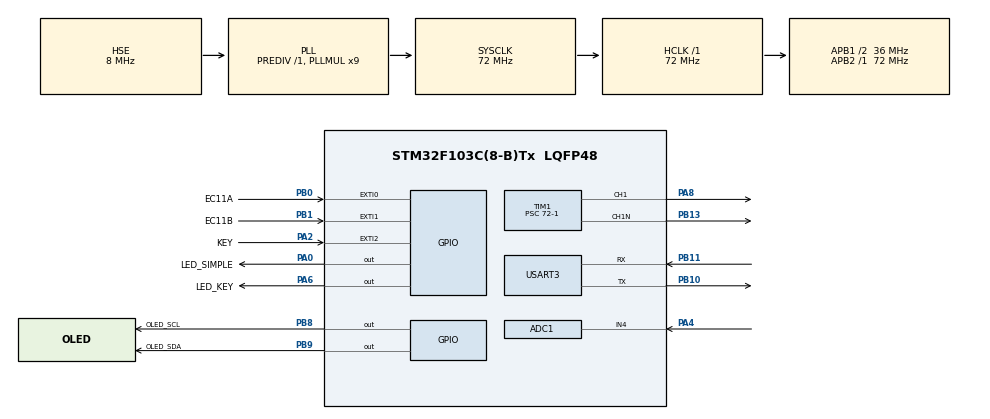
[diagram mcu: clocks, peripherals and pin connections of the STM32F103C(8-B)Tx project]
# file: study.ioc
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ADC1.Channel-0\#ChannelRegularConversion=ADC_CHANNEL_4
ADC1.Channel-1\#ChannelRegularConversion=ADC_CHANNEL_TEMPSENSOR
ADC1.Channel-2\#ChannelRegularConversion=ADC_CHANNEL_VREFINT
ADC1.ContinuousConvMode=ENABLE
ADC1.NbrOfConversion=3
ADC1.NbrOfConversionFlag=1
ADC1.Rank-0\#ChannelRegularConversion=1
ADC1.Rank-1\#ChannelRegularConversion=2
ADC1.Rank-2\#ChannelRegularConversion=3
ADC1.SamplingTime-0\#ChannelRegularConversion=ADC_SAMPLETIME_7CYCLES_5
ADC1.SamplingTime-1\#ChannelRegularConversion=ADC_SAMPLETIME_71CYCLES_5
ADC1.SamplingTime-2\#ChannelRegularConversion=ADC_SAMPLETIME_71CYCLES_5
ADC1.master=1
Dma.ADC1.2.Direction=DMA_PERIPH_TO_MEMORY
Dma.ADC1.2.Instance=DMA1_Channel1
Dma.ADC1.2.MemDataAlignment=DMA_MDATAALIGN_HALFWORD
Dma.ADC1.2.MemInc=DMA_MINC_ENABLE
Dma.ADC1.2.Mode=DMA_CIRCULAR
Dma.ADC1.2.PeriphDataAlignment=DMA_PDATAALIGN_HALFWORD
Dma.ADC1.2.PeriphInc=DMA_PINC_DISABLE
Dma.ADC1.2.Priority=DMA_PRIORITY_LOW
Dma.Request0=USART3_RX
Dma.Request1=USART3_TX
Dma.Request2=ADC1
Dma.USART3_RX.0.Direction=DMA_PERIPH_TO_MEMORY
Dma.USART3_RX.0.Instance=DMA1_Channel3
Dma.USART3_RX.0.MemDataAlignment=DMA_MDATAALIGN_BYTE
Dma.USART3_RX.0.MemInc=DMA_MINC_ENABLE
Dma.USART3_RX.0.Mode=DMA_NORMAL
Dma.USART3_RX.0.PeriphDataAlignment=DMA_PDATAALIGN_BYTE
Dma.USART3_RX.0.PeriphInc=DMA_PINC_DISABLE
Dma.USART3_RX.0.Priority=DMA_PRIORITY_LOW
Dma.USART3_TX.1.Direction=DMA_MEMORY_TO_PERIPH
Dma.USART3_TX.1.Instance=DMA1_Channel2
Dma.USART3_TX.1.MemDataAlignment=DMA_MDATAALIGN_BYTE
Dma.USART3_TX.1.MemInc=DMA_MINC_ENABLE
Dma.USART3_TX.1.Mode=DMA_NORMAL
Dma.USART3_TX.1.PeriphDataAlignment=DMA_PDATAALIGN_BYTE
Dma.USART3_TX.1.PeriphInc=DMA_PINC_DISABLE
Dma.USART3_TX.1.Priority=DMA_PRIORITY_LOW
Mcu.Family=STM32F1
Mcu.Name=STM32F103C(8-B)Tx
Mcu.Package=LQFP48
NVIC.DMA1_Channel1_IRQn=true\:0\:0\:false\:false\:true\:false\:true\:true
NVIC.DMA1_Channel2_IRQn=true\:0\:0\:false\:false\:true\:false\:true\:true
NVIC.DMA1_Channel3_IRQn=true\:0\:0\:false\:false\:true\:false\:true\:true
NVIC.EXTI0_IRQn=true\:0\:0\:false\:false\:true\:true\:true\:true
NVIC.EXTI1_IRQn=true\:0\:0\:false\:false\:true\:true\:true\:true
NVIC.EXTI2_IRQn=true\:15\:0\:true\:false\:true\:true\:true\:true
NVIC.PriorityGroup=NVIC_PRIORITYGROUP_4
NVIC.TIM1_UP_IRQn=true\:8\:0\:true\:false\:true\:true\:true\:true
NVIC.TIM4_IRQn=true\:9\:0\:true\:false\:true\:true\:true\:true
NVIC.USART3_IRQn=true\:0\:0\:false\:false\:true\:true\:true\:true
PA0-WKUP.GPIO_Label=LED_SIMPLE
PA0-WKUP.Signal=GPIO_Output
PA13.Mode=Serial_Wire
PA13.Signal=SYS_JTMS-SWDIO
PA14.Mode=Serial_Wire
PA14.Signal=SYS_JTCK-SWCLK
PA2.GPIO_Label=KEY
PA2.GPIO_ModeDefaultEXTI=GPIO_MODE_IT_FALLING
PA2.GPIO_PuPd=GPIO_PULLUP
PA2.Signal=GPXTI2
PA4.Signal=ADCx_IN4
PA6.GPIO_Label=LED_KEY
PA6.Signal=GPIO_Output
PA8.Signal=S_TIM1_CH1
PB0.GPIO_Label=EC11A
PB0.GPIO_ModeDefaultEXTI=GPIO_MODE_IT_FALLING
PB0.Signal=GPXTI0
PB1.GPIO_Label=EC11B
PB1.GPIO_ModeDefaultEXTI=GPIO_MODE_IT_FALLING
PB1.Signal=GPXTI1
PB10.Mode=Asynchronous
PB10.Signal=USART3_TX
PB11.Mode=Asynchronous
PB11.Signal=USART3_RX
PB13.Mode=PWM Generation1 CH1 CH1N
PB13.Signal=TIM1_CH1N
PB8.GPIO_Label=OLED_SCL
PB8.GPIO_ModeDefaultOutputPP=GPIO_MODE_OUTPUT_OD
PB8.GPIO_PuPd=GPIO_NOPULL
PB8.GPIO_Speed=GPIO_SPEED_FREQ_HIGH
PB8.Signal=GPIO_Output
PB9.GPIO_Label=OLED_SDA
PB9.GPIO_ModeDefaultOutputPP=GPIO_MODE_OUTPUT_OD
PB9.GPIO_PuPd=GPIO_NOPULL
PB9.GPIO_Speed=GPIO_SPEED_FREQ_HIGH
PB9.Signal=GPIO_Output
PD0-OSC_IN.Mode=HSE-External-Oscillator
PD0-OSC_IN.Signal=RCC_OSC_IN
PD1-OSC_OUT.Mode=HSE-External-Oscillator
PD1-OSC_OUT.Signal=RCC_OSC_OUT
ProjectManager.HeapSize=0x200
ProjectManager.StackSize=0x400
ProjectManager.TargetToolchain=CMake
RCC.ADCPresc=RCC_ADCPCLK2_DIV6
RCC.AHBFreq_Value=72000000
RCC.APB1CLKDivider=RCC_HCLK_DIV2
RCC.APB1Freq_Value=36000000
RCC.APB1TimFreq_Value=72000000
RCC.APB2Freq_Value=72000000
RCC.APB2TimFreq_Value=72000000
RCC.HCLKFreq_Value=72000000
RCC.PLLMUL=RCC_PLL_MUL9
RCC.PLLSourceVirtual=RCC_PLLSOURCE_HSE
RCC.SYSCLKFreq_VALUE=72000000
RCC.SYSCLKSource=RCC_SYSCLKSOURCE_PLLCLK
RCC.USBFreq_Value=72000000
SH.ADCx_IN4.0=ADC1_IN4,IN4
SH.S_TIM1_CH1.0=TIM1_CH1,PWM Generation1 CH1 CH1N
TIM1.AutoReloadPreload=TIM_AUTORELOAD_PRELOAD_ENABLE
TIM1.Channel-PWM\ Generation1\ CH1\ CH1N=TIM_CHANNEL_1
TIM1.Period=1000-1
TIM1.Prescaler=72-1
TIM4.AutoReloadPreload=TIM_AUTORELOAD_PRELOAD_ENABLE
TIM4.Period=10000-1
TIM4.Prescaler=7200-1
USART3.VirtualMode=VM_ASYNC
VP_ADC1_TempSens_Input.Mode=IN-TempSens
VP_ADC1_Vref_Input.Mode=IN-Vrefint
VP_TIM1_VS_ClockSourceINT.Mode=Internal
VP_TIM4_VS_ClockSourceINT.Mode=Internal
board=custom

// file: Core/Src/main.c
/* USER CODE BEGIN Header */
/**
  ******************************************************************************
  * @file           : main.c
  * @brief          : Main program body
  ******************************************************************************
  * @attention
  *
  * Copyright (c) 2026 STMicroelectronics.
  * All rights reserved.
  *
  * This software is licensed under terms that can be found in the LICENSE file
  * in the root directory of this software component.
  * If no LICENSE file comes with this software, it is provided AS-IS.
  *
  ******************************************************************************
  */
/* USER CODE END Header */
#include "main.h"
#include "adc.h"
#include "dma.h"
#include "tim.h"
#include "usart.h"
#include "gpio.h"

/* USER CODE BEGIN Includes */
#include <stdio.h>
#include <string.h>

#include "MY_OLED.h"
#include "OLED.h"

#include "arm_math.h"
/* USER CODE END Includes */

/* USER CODE BEGIN PV */
int EC_count = 0;

uint8_t TransmitNumData[3] = {0,34,0x78};
char TransmitCharData[] = {"%wnywl"};
uint8_t ReceiveData[2];

uint16_t ADC_value[3];
float voltage[3];
float digital_vref=3.3;
char AD_Transmit_Data[50]="";

float testdata[3]={9.77,0.7,15.679};
float average=0.0;
/* USER CODE END PV */

void SystemClock_Config(void);

int main(void)
{

  /* MCU Configuration--------------------------------------------------------*/

  /* Reset of all peripherals, Initializes the Flash interface and the Systick. */
  HAL_Init();

  /* Configure the system clock */
  SystemClock_Config();

  /* USER CODE BEGIN SysInit */
  OLED_Init();
  HAL_UART_MspInit(&huart3);
  /* USER CODE END SysInit */

  /* Initialize all configured peripherals */
  MX_GPIO_Init();
  MX_DMA_Init();
  MX_USART3_UART_Init();
  MX_ADC1_Init();
  MX_TIM4_Init();
  MX_TIM1_Init();
  /* USER CODE BEGIN 2 */
  HAL_TIM_Base_Start_IT(&htim4);

  interface_3();
  HAL_Delay(1000);
  interface_4();
  interface_2();
  HAL_Delay(1000);
  interface_5_head();

  HAL_ADCEx_Calibration_Start(&hadc1);
  HAL_ADC_Start_DMA(&hadc1,(uint32_t*)ADC_value,sizeof(ADC_value)/sizeof(uint16_t));

  HAL_UART_Receive_DMA(&huart3,ReceiveData,2);
  HAL_TIM_Base_Start_IT(&htim1);
  HAL_TIM_PWM_Start(&htim1,TIM_CHANNEL_1);
  HAL_TIMEx_PWMN_Start(&htim1,TIM_CHANNEL_1);

  /* USER CODE END 2 */

  /* Infinite loop */
  /* USER CODE BEGIN WHILE */
  while (1)
  {
    interface_5_main();

    TransmitNumData[0]=EC_count;

    HAL_GPIO_TogglePin(GPIOA,LED_SIMPLE_Pin);
    //HAL_Delay(500);

    //HAL_UART_Transmit_DMA(&huart3, (uint8_t*)TransmitCharData,strlen(TransmitCharData));
    //HAL_UART_Transmit_DMA(&huart3,TransmitNumData,sizeof(TransmitNumData));

    voltage[2]=1.2*(4095.0/(float)ADC_value[2]);
    digital_vref=voltage[2];

    voltage[0]=ADC_value[0]/4095.0*digital_vref;
    voltage[1]=ADC_value[1]/4095.0*digital_vref;

    sprintf(AD_Transmit_Data,"ADC_value: %d %d %d voltage:  %.2f %.2f %.2f",ADC_value[0],ADC_value[1],ADC_value[2],voltage[0],voltage[1],voltage[2]);
   // HAL_UART_Transmit_DMA(&huart3,(uint8_t*)AD_Transmit_Data,strlen(AD_Transmit_Data));

    arm_mean_f32(testdata,3,&average);
    /* USER CODE END WHILE */

  }
}

void SystemClock_Config(void)
{
  RCC_OscInitTypeDef RCC_OscInitStruct = {0};
  RCC_ClkInitTypeDef RCC_ClkInitStruct = {0};
  RCC_PeriphCLKInitTypeDef PeriphClkInit = {0};

  /** Initializes the RCC Oscillators according to the specified parameters
  * in the RCC_OscInitTypeDef structure.
  */
  RCC_OscInitStruct.OscillatorType = RCC_OSCILLATORTYPE_HSE;
  RCC_OscInitStruct.HSEState = RCC_HSE_ON;
  RCC_OscInitStruct.HSEPredivValue = RCC_HSE_PREDIV_DIV1;
  RCC_OscInitStruct.HSIState = RCC_HSI_ON;
  RCC_OscInitStruct.PLL.PLLState = RCC_PLL_ON;
  RCC_OscInitStruct.PLL.PLLSource = RCC_PLLSOURCE_HSE;
  RCC_OscInitStruct.PLL.PLLMUL = RCC_PLL_MUL9;
  if (HAL_RCC_OscConfig(&RCC_OscInitStruct) != HAL_OK)
  {
    Error_Handler();
  }

  /** Initializes the CPU, AHB and APB buses clocks
  */
  RCC_ClkInitStruct.ClockType = RCC_CLOCKTYPE_HCLK|RCC_CLOCKTYPE_SYSCLK
                              |RCC_CLOCKTYPE_PCLK1|RCC_CLOCKTYPE_PCLK2;
  RCC_ClkInitStruct.SYSCLKSource = RCC_SYSCLKSOURCE_PLLCLK;
  RCC_ClkInitStruct.AHBCLKDivider = RCC_SYSCLK_DIV1;
  RCC_ClkInitStruct.APB1CLKDivider = RCC_HCLK_DIV2;
  RCC_ClkInitStruct.APB2CLKDivider = RCC_HCLK_DIV1;

  if (HAL_RCC_ClockConfig(&RCC_ClkInitStruct, FLASH_LATENCY_2) != HAL_OK)
  {
    Error_Handler();
  }
  PeriphClkInit.PeriphClockSelection = RCC_PERIPHCLK_ADC;
  PeriphClkInit.AdcClockSelection = RCC_ADCPCLK2_DIV6;
  if (HAL_RCCEx_PeriphCLKConfig(&PeriphClkInit) != HAL_OK)
  {
    Error_Handler();
  }
}

/* USER CODE BEGIN 4 */
void HAL_TIM_PeriodElapsedCallback(TIM_HandleTypeDef *htim) {
  if (htim->Instance == TIM4) {
    HAL_UART_Transmit_DMA(&huart3,(uint8_t*)AD_Transmit_Data,strlen(AD_Transmit_Data));
  }
  else if (htim->Instance == TIM1) {
    static int i=0;
    static uint8_t mode=0;
    if (mode == 0) {
      __HAL_TIM_SET_COMPARE(&htim1,TIM_CHANNEL_1,i);
      i++;

      if (i>=1000) {
        mode=1;
        i--;
      }
    }
    if (mode == 1) {
      __HAL_TIM_SET_COMPARE(&htim1,TIM_CHANNEL_1,i);
      i--;

      if (i<0) {
        mode=0;
        i++;
      }
    }

  }
}

/* USER CODE END 4 */

void Error_Handler(void)
{
  __disable_irq();
  while (1)
  {
  }
}
